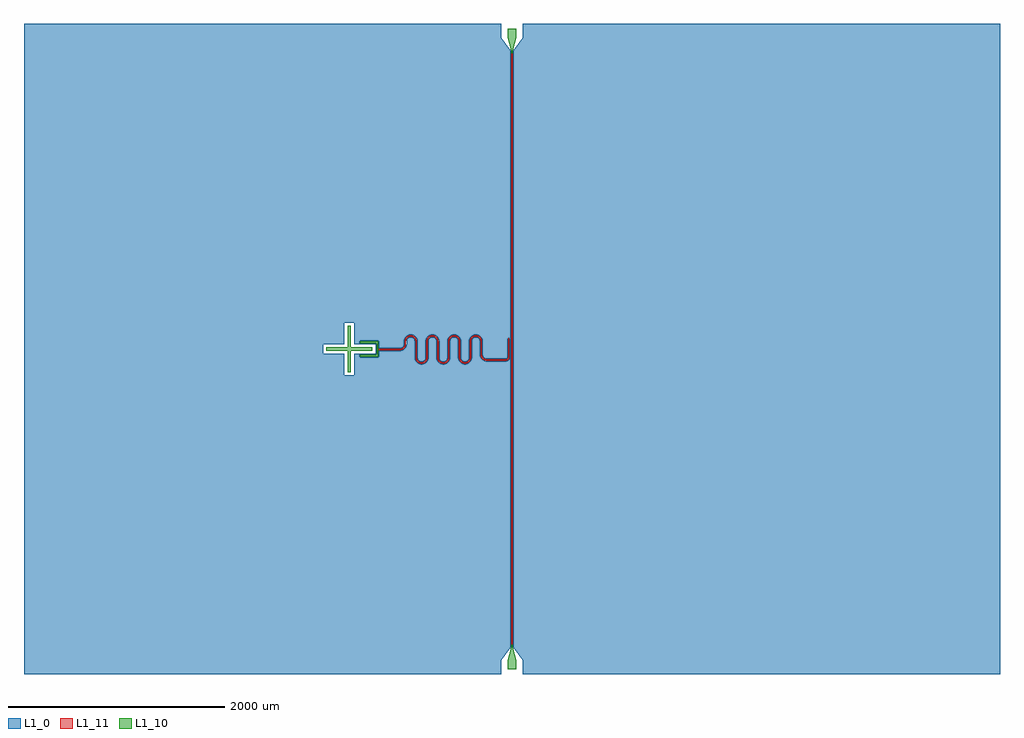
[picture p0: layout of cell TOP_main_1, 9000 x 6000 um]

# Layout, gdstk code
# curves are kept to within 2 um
import gdstk
lib = gdstk.Library(unit=1e-6, precision=1e-09)
def R(c, l, rs):  # rectangles x0, y0, x1, y1
    for r in rs: c.add(gdstk.rectangle(r[:2], r[2:], *l))
def P(c, l, *ps):  # polygons
    for p in ps: c.add(gdstk.Polygon(p, *l))
L1_0 = (1, 0)
L1_10 = (1, 10)
L1_11 = (1, 11)

ground_main_1 = lib.new_cell('ground_main_1')
R(ground_main_1, L1_0, [(-4500,-115.961,-1545,-98.062), (-4500,-98.062,-1545,-76.428), (-4500,77.436,-1545,98.604), (-18.85,77.436,-10.95,98.604), (-4500,98.604,-1545,111.387)])
P(ground_main_1, L1_0, [(98,-2872),(98,-3000),(4500,-3000),(4500,3000),(98,3000),(98,2872),(10.95,2750),(10.95,-2750)],
  [(-98,-2872),(-10.95,-2750),(-10.95,-115.961),(-385.48,-115.961),(-407.529,-133.511),(-433.357,-139.265),(-459.385,-133.511),(-481.434,-115.961),(-585.48,-115.961),(-607.529,-133.511),(-633.357,-139.265),(-659.385,-133.511),(-681.434,-115.961),(-785.48,-115.961),(-807.529,-133.511),(-833.357,-139.265),(-859.385,-133.511),(-881.434,-115.961),(-1455,-115.961),(-1455,-242.343),(-1545,-242.343),(-1545,-115.961),(-4500,-115.961),(-4500,-3000),(-98,-3000)],
  [(-831.61,-117.326),(-826.402,-116.739),(-822.995,-115.961),(-843.919,-115.961),(-840.512,-116.739),(-837.048,-117.208)],
  [(-631.61,-117.326),(-626.402,-116.739),(-622.995,-115.961),(-643.919,-115.961),(-640.512,-116.739),(-637.048,-117.208)],
  [(-431.61,-117.326),(-426.402,-116.739),(-422.995,-115.961),(-443.919,-115.961),(-440.512,-116.739),(-437.048,-117.208)],
  [(-881.72,-115.605),(-891.148,-98.062),(-1455,-98.062),(-1455,-115.961)],
  [(-821.321,-115.458),(-809.072,-108.867),(-799.733,-98.062),(-867.181,-98.062),(-859.184,-107.747),(-847.243,-114.881)],
  [(-681.72,-115.605),(-691.148,-98.062),(-775.766,-98.062),(-785.48,-115.961)],
  [(-621.321,-115.458),(-609.072,-108.867),(-599.733,-98.062),(-667.181,-98.062),(-659.184,-107.747),(-647.243,-114.881)],
  [(-481.72,-115.605),(-491.148,-98.062),(-575.766,-98.062),(-585.48,-115.961)],
  [(-421.321,-115.458),(-409.072,-108.867),(-399.733,-98.062),(-467.181,-98.062),(-459.184,-107.747),(-447.243,-114.881)],
  [(-10.95,-98.062),(-26.822,-98.062),(-32.577,-103.759),(-39.866,-108.201),(-54.8,-111.45),(-235.779,-111.409),(-255.295,-107.435),(-271.621,-98.062),(-375.766,-98.062),(-385.48,-115.961),(-10.95,-115.961)],
  [(-891.827,-95.946),(-894.407,-76.428),(-1455,-76.428),(-1455,-98.062),(-891.148,-98.062)],
  [(-799.058,-96.872),(-794.407,-76.428),(-872.507,-76.428),(-867.181,-98.062)],
  [(-691.827,-95.946),(-694.407,-76.428),(-772.507,-76.428),(-775.766,-98.062),(-691.148,-98.062)],
  [(-599.058,-96.872),(-594.407,-76.428),(-672.507,-76.428),(-667.181,-98.062)],
  [(-491.827,-95.946),(-494.407,-76.428),(-572.507,-76.428),(-575.766,-98.062),(-491.148,-98.062)],
  [(-399.058,-96.872),(-394.407,-76.428),(-472.507,-76.428),(-467.181,-98.062)],
  [(-272.481,-97.372),(-288.654,-76.428),(-372.507,-76.428),(-375.766,-98.062)],
  [(-53.75,-89.511),(-44.501,-85.056),(-40.785,-76.428),(-262.705,-76.428),(-250.457,-85.693),(-235.304,-89.511)],
  [(-10.95,-76.428),(-18.872,-76.428),(-20.827,-87.258),(-26.822,-98.062),(-10.95,-98.062)],
  [(-1545,-76.428),(-1545,-45),(-1742.343,-45),(-1742.343,45),(-1545,45),(-1545,77.436),(-4500,77.436),(-4500,-76.428)],
  [(-1253.557,-49.1),(-1253.557,49.1),(-1405.734,49.1),(-1405.734,74.3),(-1228.357,74.3),(-1228.357,7.2),(-1033.357,7.066),(-1013.38,12.579),(-999.058,27.559),(-994.564,42.525),(-994.042,77.436),(-1455,77.436),(-1455,45),(-1257.657,45),(-1257.657,-45),(-1455,-45),(-1455,-76.428),(-894.407,-76.428),(-894.986,77.436),(-971.929,77.436),(-972.872,39.361),(-979.241,18.193),(-996.167,-2.147),(-1017.966,-12.855),(-1228.357,-14.7),(-1228.357,-74.3),(-1405.734,-74.3),(-1405.734,-49.1)],
  [(-794.407,70.781),(-794.366,73.003),(-794.245,75.223),(-794.042,77.436),(-872.872,77.436),(-872.669,75.223),(-872.548,73.003),(-872.507,70.781),(-872.507,-76.428),(-794.407,-76.428)],
  [(-694.407,70.781),(-694.446,72.528),(-694.564,74.272),(-694.76,76.009),(-694.986,77.436),(-771.929,77.436),(-772.154,76.009),(-772.35,74.272),(-772.468,72.528),(-772.507,70.781),(-772.507,-76.428),(-694.407,-76.428)],
  [(-594.407,70.781),(-594.366,73.003),(-594.245,75.223),(-594.042,77.436),(-672.872,77.436),(-672.669,75.223),(-672.548,73.003),(-672.507,70.781),(-672.507,-76.428),(-594.407,-76.428)],
  [(-494.407,70.781),(-494.446,72.528),(-494.564,74.272),(-494.76,76.009),(-494.986,77.436),(-571.929,77.436),(-572.154,76.009),(-572.35,74.272),(-572.468,72.528),(-572.507,70.781),(-572.507,-76.428),(-494.407,-76.428)],
  [(-394.407,70.781),(-394.366,73.003),(-394.245,75.223),(-394.042,77.436),(-472.872,77.436),(-472.669,75.223),(-472.548,73.003),(-472.507,70.781),(-472.507,-76.428),(-394.407,-76.428)],
  [(-289.56,-74.399),(-294.366,-52.822),(-294.986,77.436),(-371.929,77.436),(-372.507,-76.428),(-288.654,-76.428)],
  [(-40.75,-75.5),(-40.75,77.436),(-272.872,77.436),(-272.468,-52.347),(-269.373,-65.908),(-262.705,-76.428)],
  [(-10.95,77.436),(-18.85,77.436),(-18.85,-75.5),(-18.872,-76.428),(-10.95,-76.428)],
  [(-993.759,79.641),(-987.673,98.604),(-1455,98.604),(-1455,77.436),(-994.042,77.436)],
  [(-895.033,77.736),(-899.058,89.238),(-906.11,98.604),(-960.804,98.604),(-967.856,89.238),(-971.929,77.436)],
  [(-793.759,79.641),(-787.673,98.604),(-879.241,98.604),(-872.872,77.436),(-794.042,77.436)],
  [(-695.033,77.736),(-699.058,89.238),(-706.11,98.604),(-760.804,98.604),(-767.856,89.238),(-771.929,77.436)],
  [(-593.759,79.641),(-587.673,98.604),(-679.241,98.604),(-672.872,77.436),(-594.042,77.436)],
  [(-495.033,77.736),(-499.058,89.238),(-506.11,98.604),(-560.804,98.604),(-567.856,89.238),(-571.929,77.436)],
  [(-393.759,79.641),(-387.673,98.604),(-479.241,98.604),(-472.872,77.436),(-394.042,77.436)],
  [(-295.033,77.736),(-299.058,89.238),(-306.11,98.604),(-360.804,98.604),(-367.856,89.238),(-371.929,77.436)],
  [(-40.75,98.604),(-279.241,98.604),(-272.872,77.436),(-40.75,77.436)],
  [(-986.621,100.562),(-985.498,102.48),(-984.306,104.356),(-983.046,106.187),(-981.72,107.971),(-980.329,109.705),(-978.876,111.387),(-1455,111.387),(-1455,98.604),(-987.673,98.604)],
  [(-786.621,100.562),(-778.876,111.387),(-888.038,111.387),(-879.241,98.604),(-787.673,98.604)],
  [(-586.621,100.562),(-578.876,111.387),(-688.038,111.387),(-679.241,98.604),(-587.673,98.604)],
  [(-386.621,100.562),(-378.876,111.387),(-488.038,111.387),(-479.241,98.604),(-387.673,98.604)],
  [(-10.95,111.387),(-288.038,111.387),(-279.241,98.604),(-40.75,98.604),(-40.75,100.5),(-18.85,100.5),(-18.85,98.604),(-10.95,98.604)],
  [(-906.44,98.934),(-913.38,104.217),(-919.671,107.247),(-933.557,109.731),(-940.512,109.105),(-948.865,106.596),(-960.804,98.604)],
  [(-706.44,98.934),(-713.38,104.217),(-719.671,107.247),(-733.557,109.731),(-740.512,109.105),(-748.865,106.596),(-760.804,98.604)],
  [(-506.44,98.934),(-513.38,104.217),(-519.671,107.247),(-533.557,109.731),(-540.512,109.105),(-548.865,106.596),(-560.804,98.604)],
  [(-306.44,98.934),(-313.38,104.217),(-319.671,107.247),(-333.557,109.731),(-340.512,109.105),(-348.865,106.596),(-360.804,98.604)],
  [(-1545,242.343),(-1455,242.343),(-1455,111.387),(-978.876,111.387),(-957.356,126.784),(-933.557,131.631),(-909.558,126.784),(-888.038,111.387),(-778.876,111.387),(-757.356,126.784),(-733.557,131.631),(-709.558,126.784),(-688.038,111.387),(-578.876,111.387),(-578.876,3000),(-4500,3000),(-4500,111.387),(-1545,111.387)],
  [(-577.363,113.015),(-557.356,126.784),(-533.357,131.631),(-509.558,126.784),(-488.038,111.387),(-378.876,111.387),(-357.356,126.784),(-333.357,131.631),(-309.558,126.784),(-288.038,111.387),(-10.95,111.387),(-10.95,2750),(-98,2872),(-98,3000),(-578.876,3000)])

top_main_1 = lib.new_cell('TOP_main_1')
P(top_main_1, L1_10, [(-1515,212.343),(-1485,212.343),(-1485,15),(-1287.657,15),(-1287.657,-15),(-1485,-15),(-1485,-212.343),(-1515,-212.343),(-1515,-15),(-1712.343,-15),(-1712.343,15),(-1515,15),(-1515,212.343)],
  [(-1233.457,69.2),(-1233.457,-69.2),(-1400.634,-69.2),(-1400.634,-54.2),(-1248.457,-54.2),(-1248.457,54.2),(-1400.634,54.2),(-1400.634,69.2),(-1233.457,69.2)],
  [(5.85,2750),(40,2872),(40,2952),(-40,2952),(-40,2872),(-5.85,2750),(-5.85,2725),(5.85,2725),(5.85,2750)],
  [(-5.85,-2750),(-40,-2872),(-40,-2952),(40,-2952),(40,-2872),(5.85,-2750),(5.85,-2725),(-5.85,-2725),(-5.85,-2750)])
R(top_main_1, L1_11, [(-5.85,-2725,5.85,2725), (-5.85,-201,5.85,201)])
P(top_main_1, L1_11, [(-23.95,100.5),(-35.65,100.5),(-36.303,-80.456),(-40.402,-88.126),(-48.644,-93.634),(-79.8,-94.65),(-79.8,-106.35),(-53.237,-106.31),(-42.634,-103.85),(-31.392,-95.595),(-24.935,-83.233)],
  [(-1233.457,2.1),(-1233.457,-9.6),(-1089.307,-9.6),(-1089.307,-9.734),(-1033.457,-9.734),(-1033.457,1.966),(-1077.607,1.966),(-1077.607,2.1)],
  [(-1031.222,-9.693),(-1016.536,-7.136),(-1004.868,-1.905),(-994.698,5.847),(-985.436,17.527),(-978.26,37.506),(-976.618,80.061),(-972.89,90.612),(-966.624,99.884),(-955.04,109.237),(-941.001,114.197),(-927.762,114.474),(-913.526,110.114),(-913.526,122.873),(-929.089,126.367),(-946.26,125.064),(-962.046,118.702),(-975.177,107.873),(-982.534,97.414),(-987.841,83.484),(-989.466,42.28),(-993.217,27.872),(-1000.29,16.913),(-1010.261,8.506),(-1022.257,3.387),(-1033.457,1.966),(-1033.457,-9.734)],
  [(-831.222,-134.124),(-812.517,-130.123),(-794.901,-118.772),(-794.901,-99.898),(-801.555,-108.895),(-810.261,-115.925),(-820.458,-120.534),(-833.357,-122.465),(-844.657,-121.043),(-855.04,-116.871),(-864.037,-110.217),(-872.013,-99.898),(-876.186,-89.514),(-877.567,-80.284),(-878.627,81.395),(-882.485,93.586),(-890.346,106.251),(-901.283,116.38),(-913.526,122.873),(-913.526,110.114),(-904.254,103.848),(-896.861,95.448),(-892.483,87.205),(-889.664,76.376),(-889.307,-78.415),(-886.709,-95.236),(-879.157,-110.489),(-865.631,-124.014),(-848.33,-132.172)],
  [(-794.698,-118.584),(-787.757,-110.489),(-782.485,-101.22),(-779.073,-91.118),(-777.771,-82.682),(-777.607,70.781),(-776.618,80.061),(-772.013,92.264),(-765.359,101.261),(-756.653,108.291),(-744.657,113.409),(-735.427,114.791),(-727.762,114.474),(-718.682,112.315),(-711.874,109.237),(-704.254,103.848),(-697.941,96.974),(-693.217,88.925),(-690.728,81.88),(-689.307,70.781),(-689.307,-78.415),(-688.287,-89.029),(-688.287,103.578),(-701.283,116.38),(-716.536,123.933),(-726.963,126.163),(-737.825,126.367),(-748.33,124.538),(-758.294,120.742),(-769.028,113.791),(-776.568,106.251),(-782.534,97.414),(-786.709,87.602),(-789.307,70.781),(-789.347,-80.284),(-790.728,-89.514),(-794.901,-99.898)],
  [(-631.222,-134.124),(-612.517,-130.123),(-597.886,-121.425),(-586.562,-108.719),(-579.073,-91.118),(-578.26,104.078),(-586.026,89.625),(-589.143,75.048),(-589.307,-78.415),(-590.728,-89.514),(-596.861,-103.082),(-607.163,-113.831),(-618.682,-119.949),(-633.357,-122.465),(-646.456,-120.534),(-659.751,-113.831),(-670.053,-103.082),(-676.186,-89.514),(-677.607,-78.415),(-677.771,75.048),(-680.888,89.625),(-688.287,103.578),(-687.841,-91.118),(-680.352,-108.719),(-667.354,-122.752),(-650.378,-131.567)],
  [(-577.771,-82.682),(-577.607,70.781),(-575.676,83.68),(-572.013,92.264),(-566.624,99.884),(-559.751,106.197),(-553.388,110.114),(-544.657,113.409),(-535.427,114.791),(-527.762,114.474),(-518.682,112.315),(-508.69,107.277),(-500.29,99.884),(-494.024,90.612),(-490.296,80.061),(-489.307,70.781),(-488.939,-84.808),(-486.709,-95.236),(-483.518,-103.152),(-477.895,-112.212),(-471.067,-119.648),(-471.067,-101.511),(-475.676,-91.314),(-477.567,-80.284),(-477.607,70.781),(-478.627,81.395),(-484.38,97.414),(-493.188,109.44),(-504.868,118.702),(-518.584,124.538),(-535.692,126.49),(-552.401,123.249),(-567.354,115.118),(-578.26,104.078)],
  [(-431.222,-134.124),(-414.513,-130.883),(-399.56,-122.752),(-387.757,-110.489),(-380.205,-95.236),(-377.607,-78.415),(-377.25,76.376),(-374.431,87.205),(-368.973,96.974),(-361.23,105.053),(-352.401,110.586),(-352.401,123.249),(-365.631,116.38),(-376.568,106.251),(-384.429,93.586),(-388.287,81.395),(-389.347,-80.284),(-394.024,-98.246),(-400.29,-107.518),(-410.261,-115.925),(-420.458,-120.534),(-431.487,-122.425),(-442.837,-121.476),(-453.388,-117.748),(-462.66,-111.482),(-471.067,-101.511),(-471.067,-119.648),(-469.028,-121.425),(-450.378,-131.567)],
  [(-79.8,-94.65),(-235.427,-94.61),(-249.981,-91.474),(-261.23,-84.872),(-272.013,-72.083),(-277.25,-56.195),(-277.648,72.916),(-282.485,93.586),(-294.698,110.95),(-312.517,122.489),(-333.357,126.531),(-352.401,123.249),(-352.401,110.586),(-335.427,114.791),(-316.933,111.654),(-302.877,102.583),(-292.483,87.205),(-289.347,72.65),(-288.939,-56.994),(-282.534,-77.233),(-269.028,-93.611),(-252.401,-103.069),(-233.557,-106.35),(-79.8,-106.35)])
top_main_1.add(gdstk.Reference(ground_main_1, (0,0)))

lib.write_gds('TOP_main_1.gds')
